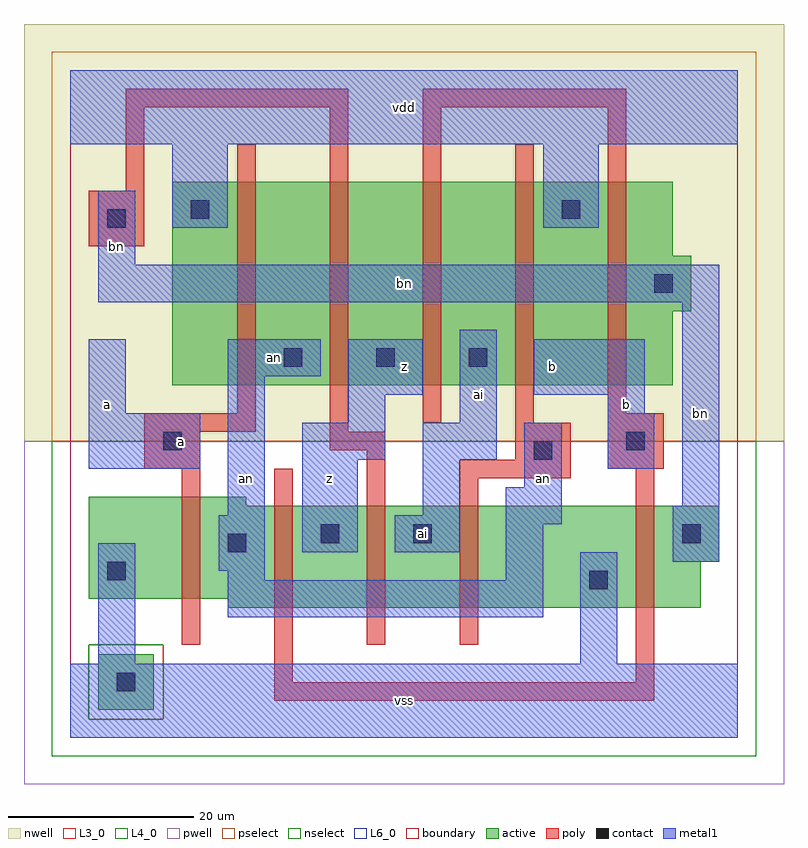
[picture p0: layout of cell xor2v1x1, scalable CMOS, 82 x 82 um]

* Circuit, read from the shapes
.subckt xor2v1x1 a ai an b bn vdd vss z
M1 an a vss vss nfet w=11u l=2u
M2 z b an vss nfet w=11u l=2u
M3 ai bn z vss nfet w=11u l=2u
M4 vss an ai vss nfet w=11u l=2u
M5 bn b vss vss nfet w=11u l=2u
M6 an a vdd n1 pfet w=22u l=2u
M7 z bn an n1 pfet w=22u l=2u
M8 ai b z n1 pfet w=22u l=2u
M9 vdd an ai n1 pfet w=22u l=2u
M10 bn b vdd n1 pfet w=22u l=2u
.ends

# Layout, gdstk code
import gdstk
lib = gdstk.Library(unit=1e-6, precision=1e-09)
def R(c, l, rs):  # rectangles x0, y0, x1, y1
    for r in rs: c.add(gdstk.rectangle(r[:2], r[2:], *l))
def A(c, l, x, y, w, h, nx, ny, dx, dy):  # array of equal rectangles
    R(c, l, [(x+i*dx, y+j*dy, x+i*dx+w, y+j*dy+h) for i in range(nx) for j in range(ny)])
L3_0 = (3, 0)
L4_0 = (4, 0)
L6_0 = (6, 0)
contact = (25, 0)
pwell = (41, 0)
nwell = (42, 0)
active = (43, 0)
pselect = (44, 0)
nselect = (45, 0)
poly = (46, 0)
metal1 = (49, 0)
boundary = (63, 0)

xor2v1x1 = lib.new_cell('xor2v1x1')
R(xor2v1x1, L3_0, [(17,14,68,15), (2,15,68,19), (2,19,70,25), (2,25,19,26)])
R(xor2v1x1, L4_0, [(11,38,65,46), (11,46,67,52), (11,52,65,60)])
R(xor2v1x1, L6_0, [(3,3,9,9)])
A(xor2v1x1, contact, 23, 40, 2, 2, 3, 1, 10, 0)
R(xor2v1x1, contact, [(5,5,7,7), (56,16,58,18), (4,17,6,19), (17,20,19,22), (27,21,29,23), (37,21,39,23), (66,21,68,23), (50,30,52,32), (10,31,12,33), (60,31,62,33), (63,48,65,50), (4,55,6,57), (13,56,15,58), (53,56,55,58)])
R(xor2v1x1, pwell, [(-5,-5,77,32)])
R(xor2v1x1, nwell, [(-5,32,77,77)])
R(xor2v1x1, active, [(3,3,9,9), (17,14,68,15), (2,15,68,19), (2,19,70,25), (2,25,19,26), (11,38,65,46), (11,46,67,52), (11,52,65,60)])
R(xor2v1x1, pselect, [(2,2,10,10), (-2,32,74,74)])
R(xor2v1x1, nselect, [(-2,-2,74,2), (-2,2,2,10), (10,2,74,10), (-2,10,74,32)])
R(xor2v1x1, poly, [(22,4,63,6), (22,6,24,29), (61,6,63,29), (12,10,14,29), (32,10,34,31), (42,10,44,28), (42,28,54,30), (8,29,14,33), (58,29,64,35), (48,30,54,34), (28,31,34,33), (8,33,20,35), (28,33,30,68), (38,34,40,68), (48,34,50,64), (18,35,20,64), (58,35,60,68), (2,53,8,59), (6,59,8,68), (6,68,30,70), (38,68,60,70)])
R(xor2v1x1, metal1, [(0,0,72,8), (3,8,7,21), (55,8,59,20), (17,13,51,17), (17,17,21,18), (47,17,51,23), (16,18,21,24), (65,19,70,25), (25,20,31,30), (35,20,42,24), (47,23,53,27), (17,24,21,39), (38,24,42,30), (66,25,70,47), (49,27,53,34), (2,29,14,35), (58,29,63,35), (25,30,34,34), (38,30,46,34), (30,34,34,37), (42,34,46,44), (2,35,6,43), (58,35,62,37), (30,37,38,43), (50,37,62,43), (17,39,27,43), (3,47,70,51), (3,51,7,59), (11,55,17,64), (51,55,57,64), (0,64,72,72)])
R(xor2v1x1, boundary, [(0,0,72,72)])
xor2v1x1.add(gdstk.Label('bn', (5,53), layer=49, texttype=0))
xor2v1x1.add(gdstk.Label('an', (19,28), layer=49, texttype=0))
xor2v1x1.add(gdstk.Label('an', (22,41), layer=49, texttype=0))
xor2v1x1.add(gdstk.Label('ai', (38,22), layer=49, texttype=0))
xor2v1x1.add(gdstk.Label('ai', (44,37), layer=49, texttype=0))
xor2v1x1.add(gdstk.Label('an', (51,28), layer=49, texttype=0))
xor2v1x1.add(gdstk.Label('bn', (68,35), layer=49, texttype=0))
xor2v1x1.add(gdstk.Label('bn', (36,49), layer=49, texttype=0))
xor2v1x1.add(gdstk.Label('a', (12,32), layer=49, texttype=0))
xor2v1x1.add(gdstk.Label('a', (4,36), layer=49, texttype=0))
xor2v1x1.add(gdstk.Label('z', (28,28), layer=49, texttype=0))
xor2v1x1.add(gdstk.Label('vss', (36,4), layer=49, texttype=0))
xor2v1x1.add(gdstk.Label('b', (52,40), layer=49, texttype=0))
xor2v1x1.add(gdstk.Label('z', (36,40), layer=49, texttype=0))
xor2v1x1.add(gdstk.Label('vdd', (36,68), layer=49, texttype=0))
xor2v1x1.add(gdstk.Label('b', (60,36), layer=49, texttype=0))

lib.write_gds('xor2v1x1.gds')
